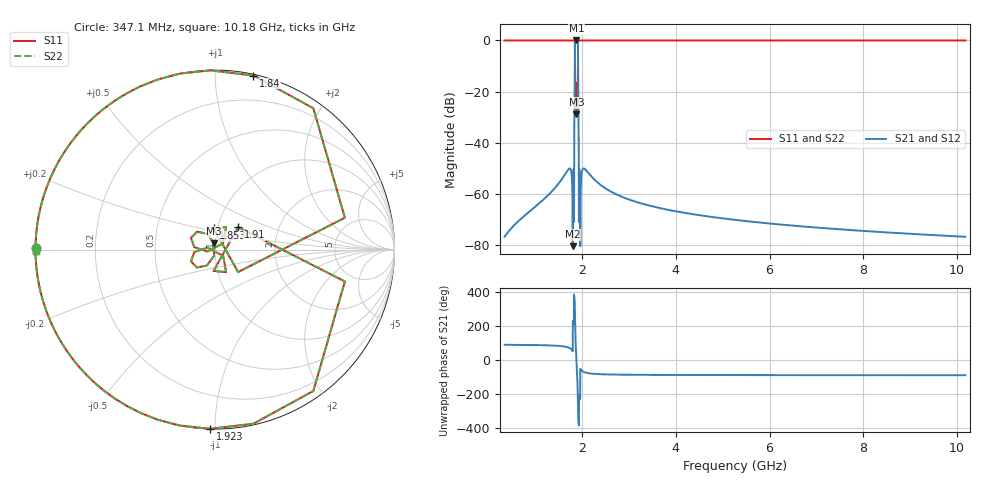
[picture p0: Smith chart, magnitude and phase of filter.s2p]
! rf-tools.com
! Date: Thu Jan 30 2020 10:52:21 GMT+0000 (格林尼治标准时间)
# Hz S DB R 50.00
!Frequency  S11 dB  S11 Deg  S21 dB  S21 Deg  S12 dB  S12 Deg  S22 dB  S22 Deg
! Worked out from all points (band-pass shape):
!   2000 points, 347.1 MHz to 10.18 GHz, reference 50 ohm
!   highest |S21| = -0.01 dB at 1.878 GHz (marker M1); lowest = -80.4 dB at 1.8 GHz (marker M2)
!   |S21| within 3 dB of the highest: 1.847 GHz to 1.913 GHz (65.76 MHz wide, 3.5 % of centre)
!   lowest |S11| = -28.9 dB at 1.878 GHz (marker M3), VSWR 1.07, Z = 49.3 + j3.51 ohm
!   |S11| at or under -10 dB: 1.849 GHz to 1.911 GHz (62.89 MHz wide, 3.35 % of centre)
!   |S22| runs from -28.9 to 0.0 dB; largest |S21 - S12| = 0
!   S11 on the Smith chart (normalised r, x): 347.1 MHz: -0.00, +0.01; 1.84 GHz: 0.01, +1.25; 1.853 GHz: 0.96, +0.23; 1.91 GHz: 1.25, +0.32; 1.923 GHz: 0.00, -0.97; 10.18 GHz: -0.00, -0.01
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3.47119e8  -0.00 179.4  -76.69 89.4  -76.69 89.4  -0.00 179.4
1.535998e9  -0.00 172.3  -54.99 82.3  -54.99 82.3  -0.00 172.3
1.734754e9  -0.00 160.1  -50.00 70.1  -50.00 70.1  -0.00 160.1
1.80047e9  -0.00 141.5  -80.37 51.5  -80.37 51.5  -0.00 141.5
1.815749e9  -0.00 130.5  -51.31 -139.5  -51.31 -139.5  -0.00 130.5
1.840465e9  -0.06 77.5  -18.76 -12.5  -18.76 -12.5  -0.06 77.5
1.85295e9  -18.47 93.8  -0.06 -176.2  -0.06 -176.2  -18.47 93.8
1.865519e9  -18.69 173.2  -0.06 83.2  -0.06 83.2  -18.69 173.2
1.878173e9  -28.87 99.0  -0.01 9.0  -0.01 9.0  -28.87 99.0
1.894111e9  -18.69 -173.2  -0.06 -83.2  -0.06 -83.2  -18.69 -173.2
1.910185e9  -14.92 44.2  -0.14 134.2  -0.14 134.2  -14.92 44.2
1.923142e9  -0.01 -91.5  -26.32 -1.5  -26.32 -1.5  -0.01 -91.5
1.939462e9  -0.00 -123.8  -50.21 146.2  -50.21 146.2  -0.00 -123.8
1.955921e9  -0.00 -137.8  -60.28 132.2  -60.28 132.2  -0.00 -137.8
1.985899e9  -0.00 -150.4  -52.84 -60.4  -52.84 -60.4  -0.00 -150.4
2.050705e9  -0.00 -161.7  -50.10 -71.7  -50.10 -71.7  -0.00 -161.7
2.646889e9  -0.00 -175.5  -59.36 -85.5  -59.36 -85.5  -0.00 -175.5
3.624583e9  -0.00 -177.8  -65.34 -87.8  -65.34 -87.8  -0.00 -177.8
5.26587e9  -0.00 -178.7  -70.10 -88.7  -70.10 -88.7  -0.00 -178.7
6.91262e9  -0.00 -179.1  -72.97 -89.1  -72.97 -89.1  -0.00 -179.1
8.55314e9  -0.00 -179.3  -75.05 -89.3  -75.05 -89.3  -0.00 -179.3
1.01795e10  -0.00 -179.4  -76.69 -89.4  -76.69 -89.4  -0.00 -179.4
